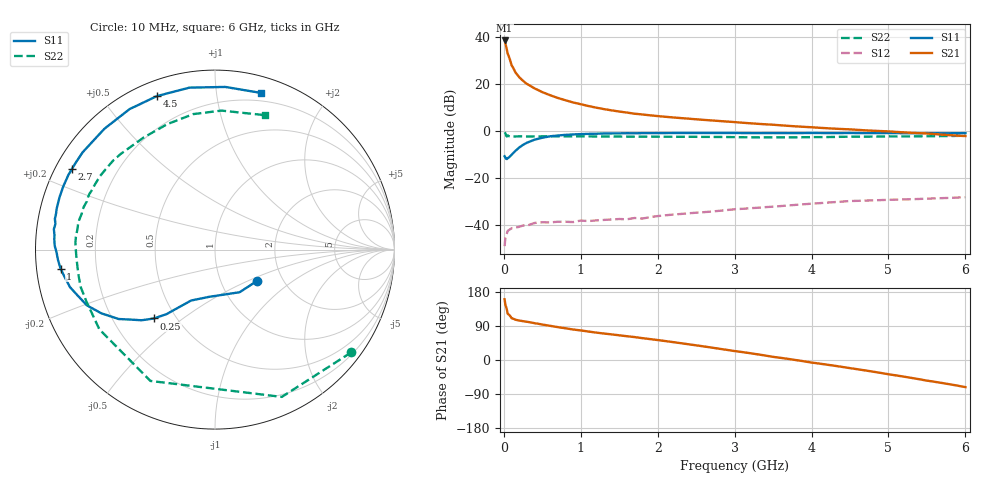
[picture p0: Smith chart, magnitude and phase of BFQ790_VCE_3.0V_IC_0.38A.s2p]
! Infineon Technologies  Discrete & RF Semiconductors
! BFQ790
! VCE =  3.0 V,  IC = 0.38 A
! Common Emitter S-Parameters:  May 2015
# GHz  S  MA  R  50
!  f  S11  S21  S12  S22
! GHz  MAG  ANG  MAG  ANG  MAG  ANG  MAG  ANG
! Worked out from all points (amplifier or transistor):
!   77 points, 10 MHz to 6 GHz, reference 50 ohm
!   highest |S21| = 38.6 dB at 10 MHz (marker M1)
!   |S21| within 3 dB of that: start of sweep to 32.75 MHz
!   unconditionally stable (mu >= 1): 162.8 MHz to end of sweep
!   at 130 MHz: K = 0.86, MSG = 33.7 dB, |S12| = -41.1 dB
!   at 2.2 GHz: K = 1.34, MAG = 17.1 dB, |S12| = -35.4 dB
!   at 6 GHz: K = 1.12, MAG = 10.9 dB, |S12| = -28.0 dB
!   S11 on the Smith chart (normalised r, x): 10 MHz: 1.49, -0.56; 250 MHz: 0.38, -0.39; 1 GHz: 0.07, -0.06; 2.7 GHz: 0.05, +0.26; 4.5 GHz: 0.07, +0.69; 6 GHz: 0.13, +1.33
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0.01  0.2931 -36.2  84.7 160.2  0.0036 66.3  0.9504 -37.1
0.02  0.2743 -60.0  73.35 145.2  0.0054 59.5  0.9013 -65.6
0.05  0.2656 -97.4  44.54 121.9  0.0076 31.0  0.8154 -116.2
0.1  0.3136 -115.2  25.35 110.4  0.0086 20.8  0.7825 -145.4
0.15  0.3808 -122.2  17.84 106.3  0.0089 22.7  0.7725 -158.0
0.2  0.4497 -126.9  14.03 104.2  0.0093 21.9  0.7767 -164.3
0.25  0.5133 -131.6  11.72 102.4  0.0099 18.1  0.774 -168.6
0.3  0.5677 -136.1  10.1 100.9  0.0098 12.8  0.7725 -171.9
0.4  0.6612 -144.2  8.088 97.1  0.0112 17.2  0.7734 -176.6
0.5  0.7257 -150.7  6.757 93.6  0.0116 13.5  0.7757 179.9
0.7  0.8074 -161.6  5.09 86.8  0.0119 14.2  0.7782 174.8
0.9  0.8523 -169.8  4.083 80.5  0.0117 12.4  0.775 171.2
1  0.8671 -173.0  3.74 78.0  0.0126 13.9  0.776 169.4
1.1  0.8767 -176.2  3.424 75.1  0.0123 13.9  0.7745 167.7
1.5  0.8983 174.7  2.613 65.2  0.0136 17.6  0.7688 162.0
2.1  0.9121 163.4  2.023 50.0  0.0163 18.9  0.7614 153.1
2.7  0.915 150.7  1.69 32.8  0.0196 13.7  0.7543 141.3
3.1  0.912 141.5  1.514 20.9  0.0224 10.0  0.7441 132.3
4.1  0.9132 119.2  1.181 -9.4  0.0295 -6.0  0.7485 108.5
4.5  0.9143 110.7  1.093 -21.5  0.0328 -13.5  0.7646 99.1
5.1  0.909 96.5  0.965 -40.7  0.0351 -26.6  0.7742 85.3
6  0.9097 73.7  0.788 -71.6  0.0396 -46.8  0.799 69.7
